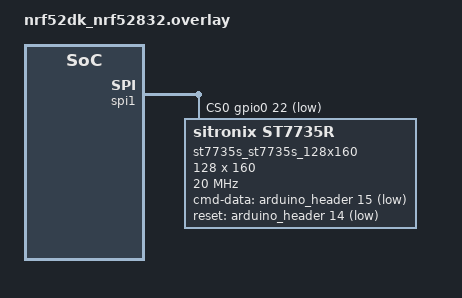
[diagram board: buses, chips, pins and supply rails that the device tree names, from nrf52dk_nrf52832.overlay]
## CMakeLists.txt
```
cmake_minimum_required(VERSION 3.20.0)
find_package(Zephyr REQUIRED HINTS $ENV{ZEPHYR_BASE})

project(data_on_lcd)

target_sources(app PRIVATE src/main.c)
```

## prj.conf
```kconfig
# Memory configuration
CONFIG_HEAP_MEM_POOL_SIZE=8192   
CONFIG_MAIN_STACK_SIZE=2048       

# Logging configuration
CONFIG_LOG=y                      # Enable logging
CONFIG_SENSOR_LOG_LEVEL_DBG=y     # Enable debug-level logs for sensors

# Display configuration
CONFIG_DISPLAY=y                  # Enable display support
CONFIG_ST7735R=y                  # Enable ST7735R display driver

# LVGL configuration
CONFIG_LVGL=y                     # Enable LVGL (LittlevGL) library
CONFIG_LV_MEM_CUSTOM=y            # Use custom memory allocation for LVGL
CONFIG_LV_USE_LOG=y               # Enable LVGL logging
CONFIG_LV_USE_LABEL=y             # Enable LVGL label feature
CONFIG_LV_USE_BTN=y               # Enable LVGL button feature
CONFIG_LV_USE_IMG=y               # Enable LVGL image feature
CONFIG_LV_FONT_MONTSERRAT_14=y    # Enable Montserrat font size 14
CONFIG_LV_Z_MEM_POOL_NUMBER_BLOCKS=8  
CONFIG_LV_Z_BITS_PER_PIXEL=16    

# SPI configuration
CONFIG_SPI=y                      # Enable SPI support

# Sensor configuration
CONFIG_SENSOR=y                   # Enable sensor support
```

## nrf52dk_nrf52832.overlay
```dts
/ {
	chosen {
		zephyr,display = &st7735s_st7735s_128x160;
	};
};

&spi1 {
	compatible = "nordic,nrf-spi";
	status = "okay";
	cs-gpios = <&gpio0 22 GPIO_ACTIVE_LOW>; /* CS PIN AT P0.22 */
	// cs-gpios = <&gpio0 5 GPIO_ACTIVE_LOW>;   //Enable Only When Configuring with Node

	st7735s_st7735s_128x160: st7735r@0 {
		compatible = "sitronix,st7735r";
		spi-max-frequency = <20000000>;
		reg = <0>;
		cmd-data-gpios = <&arduino_header 15 GPIO_ACTIVE_LOW>;	/* A0 PIN AT P0.20 */
		reset-gpios = <&arduino_header 14 GPIO_ACTIVE_LOW>;	/* RESET PIN AT P0.19 */
		width = <128>;
		height = <160>;
		x-offset = <0>;
		y-offset = <0>;
		madctl = <0xc0>;
		colmod = <0x55>;
		caset = [00 00 00 4F];
		raset = [00 00 00 9F];
		vmctr1 = <0x0e>;
		invctr = <0x07>;
		pwctr1 = [a2 02 84];
		pwctr2 = [c5];
		pwctr3 = [0a 00];
		pwctr4 = [8a 2a];
		pwctr5 = [8a ee];
		frmctr1 = [01 2c 2d];
		frmctr2 = [01 2c 2d];
		frmctr3 = [01 2c 2d 01 2c 2d];
		gamctrp1 = [02 1c 07 12 37 32 29 2d 29 25 2b 39 00 01 03 10];
		gamctrn1 = [03 1d 07 06 2e 2c 29 2d 2e 2e 37 3f 00 00 02 10];
	};
};

&pinctrl {
	spi2_default: spi2_default {
		group1 {
			psels = <NRF_PSEL(SPIM_SCK, 0, 25)>, /* SCK AT P0.25 */
				<NRF_PSEL(SPIM_MOSI, 0, 23)>,  /*SDA AT P0.23 */
				<NRF_PSEL(SPIM_MISO, 0, 24)>;
		};
	};

	spi2_sleep: spi2_sleep {
		group1 {
			psels = <NRF_PSEL(SPIM_SCK, 0, 25)>,/* SCK AT P0.25 */
				<NRF_PSEL(SPIM_MOSI, 0, 23)>, /*SDA AT P0.23 */
				<NRF_PSEL(SPIM_MISO, 0, 24)>;
			low-power-enable;
		};
	};
};


/* Enable for Node Configuration Only */

// &pinctrl {
//     uart0_default: uart0_default {
//         group1 {
//             psels = <NRF_PSEL(UART_TX, 0, 24)>, //6   for nrf52dk5832 
//             <NRF_PSEL(UART_RX, 0, 23)>;   //8      for nrf52dk5832

//         };
//     };

//     uart0_sleep: uart0_sleep {
//         group1 {
//             psels = <NRF_PSEL(UART_TX, 0, 24)>,    //6
//             <NRF_PSEL(UART_RX, 0, 23)>;       //8

//             low-power-enable;
//         };
//     };

//     spi0_default: spi0_default {
//         group1 {
//             psels = <NRF_PSEL(SPIM_SCK, 0, 8)>,
//                     <NRF_PSEL(SPIM_MOSI, 0, 7)>,
//                     <NRF_PSEL(SPIM_MISO, 0, 6)>;
//         };
//     };

//     spi0_sleep: spi0_sleep {
//         group1 {
//             psels = <NRF_PSEL(SPIM_SCK, 0, 8)>,
//                     <NRF_PSEL(SPIM_MOSI, 0, 7)>,
//                     <NRF_PSEL(SPIM_MISO, 0, 6)>;
//             low-power-enable;
//         };
//     };
// };
```

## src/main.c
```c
#include <lvgl.h>  // Include LittlevGL library for GUI
#include <zephyr/device.h>  // Device handling in Zephyr
#include <zephyr/kernel.h>  // Kernel and sleep functions
#include <zephyr/drivers/display.h>  // Display driver API
#include <zephyr/logging/log.h>  // Logging functionality

#define LOG_LEVEL CONFIG_LOG_DEFAULT_LEVEL   
LOG_MODULE_REGISTER(app);  // Initialize logging module

void main(void) {                             
    const struct device *display_dev;  // Pointer for display device
    lv_obj_t *hello_world_label;  // Label object for display
    char* msg = "Hello, Zephyr\n";  // Message to display

    // Get the display device from the Device Tree
    display_dev = DEVICE_DT_GET(DT_CHOSEN(zephyr_display));

    // Check if the display device is ready
    if (!device_is_ready(display_dev)) {                            
        LOG_ERR("Display device not ready");
        return;  // Exit if the display is not ready
    }

    // Turn on the display (unblank if it was blanked)
    display_blanking_off(display_dev);  
    
    // Create label object on the active screen
    hello_world_label = lv_label_create(lv_scr_act());  
    
    // Set the label text to the message
    lv_label_set_text(hello_world_label, msg);  
    
    // Align the label to the center of the display
    lv_obj_align(hello_world_label, LV_ALIGN_CENTER, 0, 0);  

    // Log the display update action
    printk("Display updated with message: %s\n", msg);  

    // Main loop for updating the display
    while (1) {     
        lv_task_handler();  // Handle LVGL tasks (required for rendering)
        // k_msleep(10);  // Sleep for 10ms to allow proper scheduling
    }
}
```

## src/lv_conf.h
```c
/*-----------------------------------------------------------------------------
 * FONT USAGE
 *-----------------------------------------------------------------------------
 * Enable the built-in fonts.
 * To use a custom font, use lv_font_load and lv_font_unload functions.
 */

/* Enable Montserrat fonts */
#define LV_FONT_MONTSERRAT_12    1
#define LV_FONT_MONTSERRAT_14    1
#define LV_FONT_MONTSERRAT_16    1   /* Enable 16 px Montserrat */
#define LV_FONT_MONTSERRAT_20    1
#define LV_FONT_MONTSERRAT_22    1
#define LV_FONT_MONTSERRAT_24    1
```
